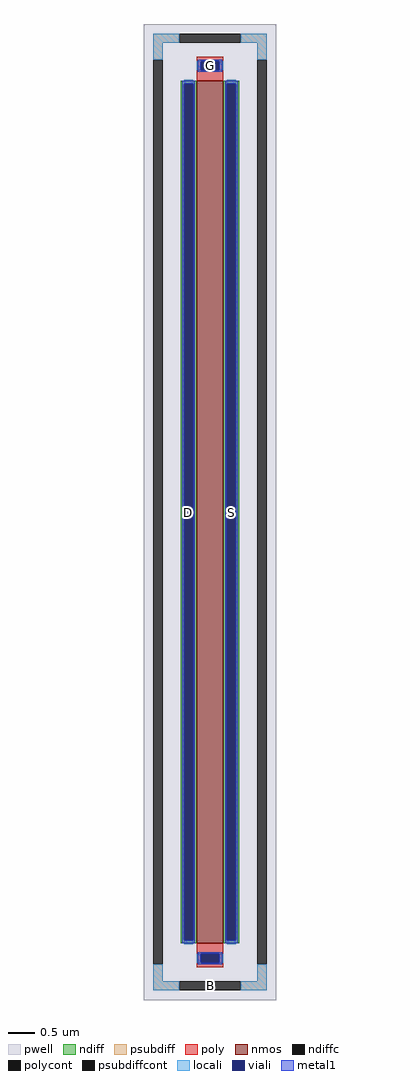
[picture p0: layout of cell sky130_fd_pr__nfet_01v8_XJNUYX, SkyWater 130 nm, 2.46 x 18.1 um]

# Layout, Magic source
magic
tech sky130A
magscale 1 2
<< pwell >>
rect -246 -1810 246 1810
<< nmos >>
rect -50 -1600 50 1600
<< ndiff >>
rect -108 1588 -50 1600
rect -108 -1588 -96 1588
rect -62 -1588 -50 1588
rect -108 -1600 -50 -1588
rect 50 1588 108 1600
rect 50 -1588 62 1588
rect 96 -1588 108 1588
rect 50 -1600 108 -1588
<< ndiffc >>
rect -96 -1588 -62 1588
rect 62 -1588 96 1588
<< psubdiff >>
rect -210 1740 -114 1774
rect 114 1740 210 1774
rect -210 1678 -176 1740
rect 176 1678 210 1740
rect -210 -1740 -176 -1678
rect 176 -1740 210 -1678
rect -210 -1774 -114 -1740
rect 114 -1774 210 -1740
<< psubdiffcont >>
rect -114 1740 114 1774
rect -210 -1678 -176 1678
rect 176 -1678 210 1678
rect -114 -1774 114 -1740
<< poly >>
rect -50 1672 50 1688
rect -50 1638 -34 1672
rect 34 1638 50 1672
rect -50 1600 50 1638
rect -50 -1638 50 -1600
rect -50 -1672 -34 -1638
rect 34 -1672 50 -1638
rect -50 -1688 50 -1672
<< polycont >>
rect -34 1638 34 1672
rect -34 -1672 34 -1638
<< locali >>
rect -210 1740 -114 1774
rect 114 1740 210 1774
rect -210 1678 -176 1740
rect 176 1678 210 1740
rect -50 1638 -34 1672
rect 34 1638 50 1672
rect -96 1588 -62 1604
rect -96 -1604 -62 -1588
rect 62 1588 96 1604
rect 62 -1604 96 -1588
rect -50 -1672 -34 -1638
rect 34 -1672 50 -1638
rect -210 -1740 -176 -1678
rect 176 -1740 210 -1678
rect -210 -1774 -114 -1740
rect 114 -1774 210 -1740
<< viali >>
rect -34 1638 34 1672
rect -96 -1588 -62 1588
rect 62 -1588 96 1588
rect -34 -1672 34 -1638
<< metal1 >>
rect -46 1672 46 1678
rect -46 1638 -34 1672
rect 34 1638 46 1672
rect -46 1632 46 1638
rect -102 1588 -56 1600
rect -102 -1588 -96 1588
rect -62 -1588 -56 1588
rect -102 -1600 -56 -1588
rect 56 1588 102 1600
rect 56 -1588 62 1588
rect 96 -1588 102 1588
rect 56 -1600 102 -1588
rect -46 -1638 46 -1632
rect -46 -1672 -34 -1638
rect 34 -1672 46 -1638
rect -46 -1678 46 -1672
<< labels >>
rlabel psubdiffcont 0 -1757 0 -1757 0 B
port 1 nsew
rlabel ndiffc -79 0 -79 0 0 D
port 2 nsew
rlabel ndiffc 79 0 79 0 0 S
port 3 nsew
rlabel polycont 0 1655 0 1655 0 G
port 4 nsew
<< properties >>
string FIXED_BBOX -193 -1757 193 1757
string gencell sky130_fd_pr__nfet_01v8
string library sky130
string parameters w 16 l 0.5 m 1 nf 1 diffcov 100 polycov 100 guard 1 glc 1 grc 1 gtc 1 gbc 1 tbcov 100 rlcov 100 topc 1 botc 1 poverlap 0 doverlap 1 lmin 0.15 wmin 0.42 class mosfet compatible {sky130_fd_pr__nfet_01v8 sky130_fd_pr__nfet_01v8_lvt  sky130_fd_bs_flash__special_sonosfet_star  sky130_fd_pr__nfet_g5v0d10v5 sky130_fd_pr__nfet_05v0_nvt  sky130_fd_pr__nfet_03v3_nvt} full_metal 1 conn_gates 0 viasrc 100 viadrn 100 viagate 100 viagb 0 viagr 0 viagl 0 viagt 0 doports 1
<< end >>
